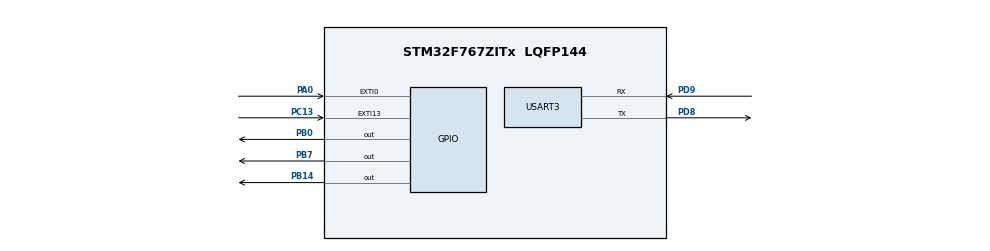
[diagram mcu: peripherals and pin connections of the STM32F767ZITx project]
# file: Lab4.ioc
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Mcu.Family=STM32F7
Mcu.Name=STM32F767ZITx
Mcu.Package=LQFP144
NVIC.EXTI0_IRQn=true\:2\:3\:true\:false\:true\:true\:true\:true
NVIC.EXTI15_10_IRQn=true\:3\:1\:true\:false\:true\:true\:true\:true
NVIC.PriorityGroup=NVIC_PRIORITYGROUP_2
PA0/WKUP.GPIO_ModeDefaultEXTI=GPIO_MODE_IT_FALLING
PA0/WKUP.Signal=GPXTI0
PB0.Signal=GPIO_Output
PB14.Signal=GPIO_Output
PB7.Signal=GPIO_Output
PC13.Signal=GPXTI13
PD8.Mode=Asynchronous
PD8.Signal=USART3_TX
PD9.Mode=Asynchronous
PD9.Signal=USART3_RX
ProjectManager.HeapSize=0x200
ProjectManager.StackSize=0x400
ProjectManager.TargetToolchain=STM32CubeIDE
RCC.HSE_VALUE=25000000
RCC.HSI_VALUE=16000000
RCC.LSE_VALUE=32768
RCC.USBFreq_Value=96000000
RCC.VCOOutputFreq_Value=192000000
USART3.VirtualMode-Asynchronous=VM_ASYNC
board=custom

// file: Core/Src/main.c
/* USER CODE BEGIN Header */
/**
  ******************************************************************************
  * @file           : main.c
  * @brief          : Main program body
  ******************************************************************************
  * @attention
  *
  * Copyright (c) 2023 STMicroelectronics.
  * All rights reserved.
  *
  * This software is licensed under terms that can be found in the LICENSE file
  * in the root directory of this software component.
  * If no LICENSE file comes with this software, it is provided AS-IS.
  *
  ******************************************************************************
  */
/* USER CODE END Header */
#include "main.h"

UART_HandleTypeDef huart3;

void SystemClock_Config(void);
static void MX_GPIO_Init(void);
static void MX_USART3_UART_Init(void);

/* USER CODE BEGIN 0 */

int button = 0;
void HAL_GPIO_EXTI_Callback(uint16_t GPIO_Pin){
	if(GPIO_Pin == GPIO_PIN_13){
		while(__HAL_UART_GET_FLAG(&huart3,UART_FLAG_TC)==RESET){}
			HAL_UART_Transmit(&huart3, (uint8_t *) "---", 3, 100);
			HAL_Delay(200);
			for(int i = 0; i<20; i++){
				while(__HAL_UART_GET_FLAG(&huart3,UART_FLAG_TC)==RESET){}
				HAL_UART_Transmit(&huart3, (uint8_t *) "B", 1, 100);
				HAL_Delay(200);
			}
	}else if(GPIO_Pin == GPIO_PIN_0){
		while(__HAL_UART_GET_FLAG(&huart3,UART_FLAG_TC)==RESET){}
			HAL_UART_Transmit(&huart3, (uint8_t *) "---", 3, 100);
			HAL_Delay(200);
			for(int i = 0; i<20; i++){
				while(__HAL_UART_GET_FLAG(&huart3,UART_FLAG_TC)==RESET){}
				HAL_UART_Transmit(&huart3, (uint8_t *) "E", 1, 100);
				HAL_Delay(200);
			}
		if (button == 0){
			HAL_GPIO_WritePin(GPIOB,GPIO_PIN_14,GPIO_PIN_SET);
			button = 1;
		}else{
			HAL_GPIO_WritePin(GPIOB,GPIO_PIN_14,GPIO_PIN_RESET);
			button = 0;
		}
	}
}
/* USER CODE END 0 */

int main(void)
{

  /* MCU Configuration--------------------------------------------------------*/

  /* Reset of all peripherals, Initializes the Flash interface and the Systick. */
  HAL_Init();

  /* Configure the system clock */
  SystemClock_Config();

  /* Initialize all configured peripherals */
  MX_GPIO_Init();
  MX_USART3_UART_Init();

  /* Infinite loop */
  while (1)
  {

    /* USER CODE BEGIN 3 */
	  while(__HAL_UART_GET_FLAG(&huart3,UART_FLAG_TC)==RESET){}
	  HAL_UART_Transmit(&huart3, (uint8_t *) ".", 1, 100);
	  HAL_Delay(400);

  }
  /* USER CODE END 3 */
}

void SystemClock_Config(void)
{
  RCC_OscInitTypeDef RCC_OscInitStruct = {0};
  RCC_ClkInitTypeDef RCC_ClkInitStruct = {0};

  /** Configure the main internal regulator output voltage
  */
  __HAL_RCC_PWR_CLK_ENABLE();
  __HAL_PWR_VOLTAGESCALING_CONFIG(PWR_REGULATOR_VOLTAGE_SCALE3);

  /** Initializes the RCC Oscillators according to the specified parameters
  * in the RCC_OscInitTypeDef structure.
  */
  RCC_OscInitStruct.OscillatorType = RCC_OSCILLATORTYPE_HSI;
  RCC_OscInitStruct.HSIState = RCC_HSI_ON;
  RCC_OscInitStruct.HSICalibrationValue = RCC_HSICALIBRATION_DEFAULT;
  RCC_OscInitStruct.PLL.PLLState = RCC_PLL_NONE;
  if (HAL_RCC_OscConfig(&RCC_OscInitStruct) != HAL_OK)
  {
    Error_Handler();
  }

  /** Initializes the CPU, AHB and APB buses clocks
  */
  RCC_ClkInitStruct.ClockType = RCC_CLOCKTYPE_HCLK|RCC_CLOCKTYPE_SYSCLK
                              |RCC_CLOCKTYPE_PCLK1|RCC_CLOCKTYPE_PCLK2;
  RCC_ClkInitStruct.SYSCLKSource = RCC_SYSCLKSOURCE_HSI;
  RCC_ClkInitStruct.AHBCLKDivider = RCC_SYSCLK_DIV1;
  RCC_ClkInitStruct.APB1CLKDivider = RCC_HCLK_DIV1;
  RCC_ClkInitStruct.APB2CLKDivider = RCC_HCLK_DIV1;

  if (HAL_RCC_ClockConfig(&RCC_ClkInitStruct, FLASH_LATENCY_0) != HAL_OK)
  {
    Error_Handler();
  }
}

static void MX_USART3_UART_Init(void)
{

  huart3.Instance = USART3;
  huart3.Init.BaudRate = 115200;
  huart3.Init.WordLength = UART_WORDLENGTH_8B;
  huart3.Init.StopBits = UART_STOPBITS_1;
  huart3.Init.Parity = UART_PARITY_NONE;
  huart3.Init.Mode = UART_MODE_TX_RX;
  huart3.Init.HwFlowCtl = UART_HWCONTROL_NONE;
  huart3.Init.OverSampling = UART_OVERSAMPLING_16;
  huart3.Init.OneBitSampling = UART_ONE_BIT_SAMPLE_DISABLE;
  huart3.AdvancedInit.AdvFeatureInit = UART_ADVFEATURE_NO_INIT;
  if (HAL_UART_Init(&huart3) != HAL_OK)
  {
    Error_Handler();
  }

}

static void MX_GPIO_Init(void)
{
  GPIO_InitTypeDef GPIO_InitStruct = {0};

  /* GPIO Ports Clock Enable */
  __HAL_RCC_GPIOC_CLK_ENABLE();
  __HAL_RCC_GPIOA_CLK_ENABLE();
  __HAL_RCC_GPIOB_CLK_ENABLE();
  __HAL_RCC_GPIOD_CLK_ENABLE();

  /*Configure GPIO pin Output Level */
  HAL_GPIO_WritePin(GPIOB, GPIO_PIN_0|GPIO_PIN_14|GPIO_PIN_7, GPIO_PIN_RESET);

  /*Configure GPIO pin : PC13 */
  GPIO_InitStruct.Pin = GPIO_PIN_13;
  GPIO_InitStruct.Mode = GPIO_MODE_IT_RISING;
  GPIO_InitStruct.Pull = GPIO_NOPULL;
  HAL_GPIO_Init(GPIOC, &GPIO_InitStruct);

  /*Configure GPIO pin : PA0 */
  GPIO_InitStruct.Pin = GPIO_PIN_0;
  GPIO_InitStruct.Mode = GPIO_MODE_IT_FALLING;
  GPIO_InitStruct.Pull = GPIO_NOPULL;
  HAL_GPIO_Init(GPIOA, &GPIO_InitStruct);

  /*Configure GPIO pins : PB0 PB14 PB7 */
  GPIO_InitStruct.Pin = GPIO_PIN_0|GPIO_PIN_14|GPIO_PIN_7;
  GPIO_InitStruct.Mode = GPIO_MODE_OUTPUT_PP;
  GPIO_InitStruct.Pull = GPIO_NOPULL;
  GPIO_InitStruct.Speed = GPIO_SPEED_FREQ_LOW;
  HAL_GPIO_Init(GPIOB, &GPIO_InitStruct);

  /* EXTI interrupt init*/
  HAL_NVIC_SetPriority(EXTI0_IRQn, 2, 3);
  HAL_NVIC_EnableIRQ(EXTI0_IRQn);

  HAL_NVIC_SetPriority(EXTI15_10_IRQn, 3, 1);
  HAL_NVIC_EnableIRQ(EXTI15_10_IRQn);

}

void Error_Handler(void)
{
  __disable_irq();
  while (1)
  {
  }
}
